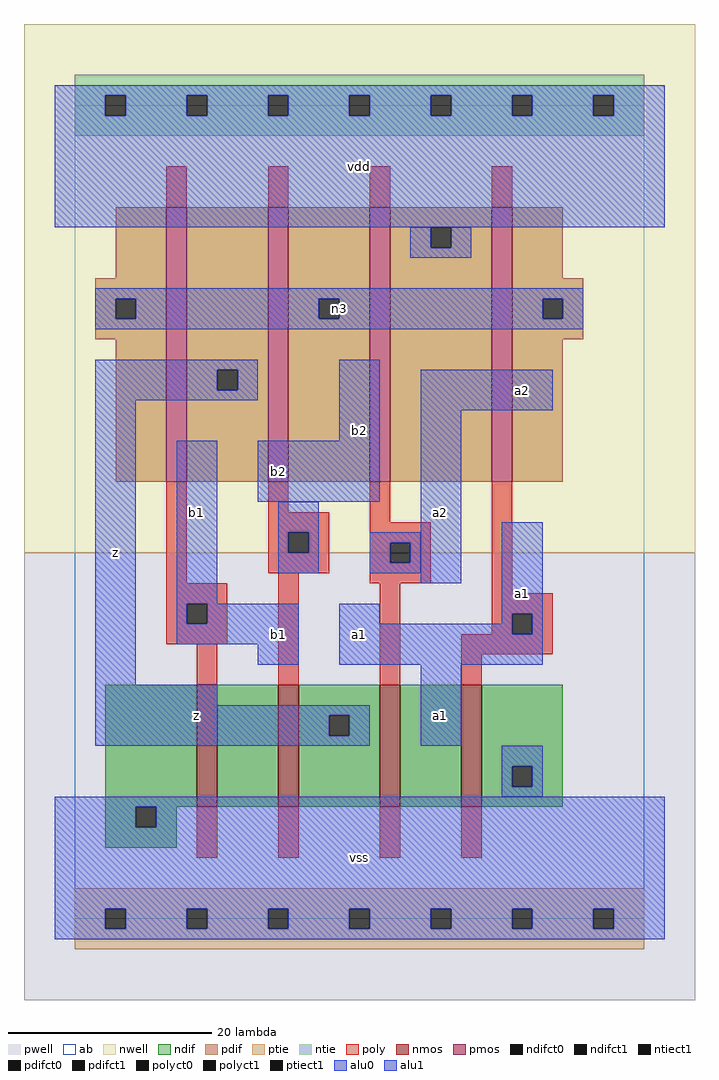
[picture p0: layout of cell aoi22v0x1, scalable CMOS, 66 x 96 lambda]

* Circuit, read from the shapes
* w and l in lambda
.subckt aoi22v0x1 a1 a2 b1 b2 n3 vdd vss z
M1 n1 b1 vss vss nfet w=12 l=2
M2 z b2 n1 vss nfet w=12 l=2
M3 n2 a2 z vss nfet w=12 l=2
M4 vss a1 n2 vss nfet w=12 l=2
M5 z b1 n3 vdd pfet w=27 l=2
M6 n3 b2 z vdd pfet w=27 l=2
M7 vdd a2 n3 vdd pfet w=27 l=2
M8 n3 a1 vdd vdd pfet w=27 l=2
.ends

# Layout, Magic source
magic
tech scmos
<< ab >>
rect 0 0 56 80
<< nwell >>
rect -5 36 61 88
<< pwell >>
rect -5 -8 61 36
<< poly >>
rect 9 70 11 74
rect 19 70 21 74
rect 29 70 31 74
rect 41 70 43 74
rect 9 33 11 43
rect 19 40 21 43
rect 19 38 25 40
rect 19 36 21 38
rect 23 36 25 38
rect 19 34 25 36
rect 29 39 31 43
rect 29 37 35 39
rect 29 35 31 37
rect 33 35 35 37
rect 9 31 15 33
rect 9 29 11 31
rect 13 29 15 31
rect 9 27 15 29
rect 12 23 14 27
rect 20 23 22 34
rect 29 33 35 35
rect 30 23 32 33
rect 41 32 43 43
rect 41 30 47 32
rect 41 28 43 30
rect 45 28 47 30
rect 38 26 47 28
rect 38 23 40 26
rect 12 6 14 11
rect 20 6 22 11
rect 30 6 32 11
rect 38 6 40 11
<< ndif >>
rect 3 11 12 23
rect 14 11 20 23
rect 22 20 30 23
rect 22 18 25 20
rect 27 18 30 20
rect 22 11 30 18
rect 32 11 38 23
rect 40 15 48 23
rect 40 13 43 15
rect 45 13 48 15
rect 40 11 48 13
rect 3 9 6 11
rect 8 9 10 11
rect 3 7 10 9
<< pdif >>
rect 4 63 9 70
rect 2 61 9 63
rect 2 59 4 61
rect 6 59 9 61
rect 2 57 9 59
rect 4 43 9 57
rect 11 54 19 70
rect 11 52 14 54
rect 16 52 19 54
rect 11 43 19 52
rect 21 61 29 70
rect 21 59 24 61
rect 26 59 29 61
rect 21 43 29 59
rect 31 68 41 70
rect 31 66 35 68
rect 37 66 41 68
rect 31 43 41 66
rect 43 63 48 70
rect 43 61 50 63
rect 43 59 46 61
rect 48 59 50 61
rect 43 57 50 59
rect 43 43 48 57
<< alu1 >>
rect -2 81 58 82
rect -2 79 3 81
rect 5 79 11 81
rect 13 79 19 81
rect 21 79 27 81
rect 29 79 35 81
rect 37 79 43 81
rect 45 79 51 81
rect 53 79 58 81
rect -2 68 58 79
rect 2 54 18 55
rect 2 52 14 54
rect 16 52 18 54
rect 2 51 18 52
rect 2 23 6 51
rect 26 47 30 55
rect 10 31 14 47
rect 18 41 30 47
rect 34 50 47 54
rect 34 33 38 50
rect 10 29 11 31
rect 13 29 22 31
rect 10 27 22 29
rect 18 25 22 27
rect 26 29 30 31
rect 42 30 46 39
rect 42 29 43 30
rect 26 28 43 29
rect 45 28 46 30
rect 26 25 46 28
rect 2 17 14 23
rect 34 17 38 25
rect -2 11 58 12
rect -2 9 6 11
rect 8 9 58 11
rect -2 1 58 9
rect -2 -1 3 1
rect 5 -1 11 1
rect 13 -1 19 1
rect 21 -1 27 1
rect 29 -1 35 1
rect 37 -1 43 1
rect 45 -1 51 1
rect 53 -1 58 1
rect -2 -2 58 -1
<< ptie >>
rect 0 1 56 3
rect 0 -1 3 1
rect 5 -1 11 1
rect 13 -1 19 1
rect 21 -1 27 1
rect 29 -1 35 1
rect 37 -1 43 1
rect 45 -1 51 1
rect 53 -1 56 1
rect 0 -3 56 -1
<< ntie >>
rect 0 81 56 83
rect 0 79 3 81
rect 5 79 11 81
rect 13 79 19 81
rect 21 79 27 81
rect 29 79 35 81
rect 37 79 43 81
rect 45 79 51 81
rect 53 79 56 81
rect 0 77 56 79
<< nmos >>
rect 12 11 14 23
rect 20 11 22 23
rect 30 11 32 23
rect 38 11 40 23
<< pmos >>
rect 9 43 11 70
rect 19 43 21 70
rect 29 43 31 70
rect 41 43 43 70
<< polyct0 >>
rect 21 36 23 38
rect 31 35 33 37
<< polyct1 >>
rect 11 29 13 31
rect 43 28 45 30
<< ndifct0 >>
rect 25 18 27 20
rect 43 13 45 15
<< ndifct1 >>
rect 6 9 8 11
<< ntiect1 >>
rect 3 79 5 81
rect 11 79 13 81
rect 19 79 21 81
rect 27 79 29 81
rect 35 79 37 81
rect 43 79 45 81
rect 51 79 53 81
<< ptiect1 >>
rect 3 -1 5 1
rect 11 -1 13 1
rect 19 -1 21 1
rect 27 -1 29 1
rect 35 -1 37 1
rect 43 -1 45 1
rect 51 -1 53 1
<< pdifct0 >>
rect 4 59 6 61
rect 24 59 26 61
rect 35 66 37 68
rect 46 59 48 61
<< pdifct1 >>
rect 14 52 16 54
<< alu0 >>
rect 33 66 35 68
rect 37 66 39 68
rect 33 65 39 66
rect 2 61 50 62
rect 2 59 4 61
rect 6 59 24 61
rect 26 59 46 61
rect 48 59 50 61
rect 2 58 50 59
rect 20 38 24 41
rect 20 36 21 38
rect 23 36 24 38
rect 20 34 24 36
rect 29 37 34 38
rect 29 35 31 37
rect 33 35 34 37
rect 29 34 34 35
rect 14 20 29 21
rect 14 18 25 20
rect 27 18 29 20
rect 14 17 29 18
rect 42 15 46 17
rect 42 13 43 15
rect 45 13 46 15
rect 42 12 46 13
<< labels >>
rlabel alu0 26 60 26 60 6 n3
rlabel alu1 4 36 4 36 6 z
rlabel alu1 12 20 12 20 6 z
rlabel alu1 20 28 20 28 6 b1
rlabel alu1 20 44 20 44 6 b2
rlabel alu1 12 40 12 40 6 b1
rlabel alu1 28 6 28 6 6 vss
rlabel alu1 36 20 36 20 6 a1
rlabel alu1 28 28 28 28 6 a1
rlabel alu1 36 40 36 40 6 a2
rlabel alu1 28 48 28 48 6 b2
rlabel alu1 28 74 28 74 6 vdd
rlabel alu1 44 32 44 32 6 a1
rlabel alu1 44 52 44 52 6 a2
<< end >>
